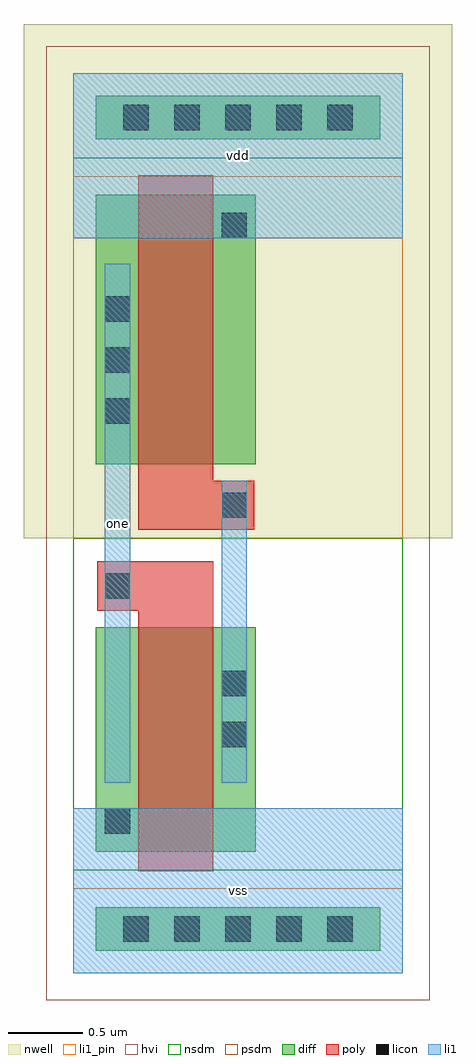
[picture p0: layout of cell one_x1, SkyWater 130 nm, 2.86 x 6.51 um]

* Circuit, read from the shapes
.subckt one_x1 one vdd vss
XM1 n1 one vss VSUBS sky130_fd_pr__nfet_g5v0d10v5 w=1.495 l=0.5
XM2 vdd n1 one n2 sky130_fd_pr__pfet_g5v0d10v5 w=1.795 l=0.5
.ends

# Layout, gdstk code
import gdstk
lib = gdstk.Library(unit=1e-6, precision=1e-09)
def R(c, l, rs):  # rectangles x0, y0, x1, y1
    for r in rs: c.add(gdstk.rectangle(r[:2], r[2:], *l))
def A(c, l, x, y, w, h, nx, ny, dx, dy):  # array of equal rectangles
    R(c, l, [(x+i*dx, y+j*dy, x+i*dx+w, y+j*dy+h) for i in range(nx) for j in range(ny)])
def P(c, l, *ps):  # polygons
    for p in ps: c.add(gdstk.Polygon(p, *l))
nwell = (64, 20)
diff = (65, 20)
poly = (66, 20)
licon = (66, 44)
li1_pin = (67, 16)
li1 = (67, 20)
hvi = (75, 20)
nsdm = (93, 44)
psdm = (94, 20)

one_x1 = lib.new_cell('one_x1')
R(one_x1, nwell, [(-0.33,2.9,2.53,6.33)])
R(one_x1, diff, [(0.15,0.15,2.05,0.44), (0.15,0.81,1.22,2.305), (0.15,3.395,1.22,5.19), (0.15,5.56,2.05,5.85)])
P(one_x1, poly, [(0.435,0.68),(0.435,2.415),(0.16,2.415),(0.16,2.745),(0.935,2.745),(0.935,0.68)],
  [(0.435,2.955),(0.435,5.32),(0.935,5.32),(0.935,3.285),(1.21,3.285),(1.21,2.955)])
A(one_x1, licon, 0.335, 0.21, 0.17, 0.17, 5, 2, 0.34, 5.41)
A(one_x1, licon, 0.21, 3.665, 0.17, 0.17, 1, 3, 0, 0.34)
R(one_x1, licon, [(0.21,0.93,0.38,1.1), (0.99,1.505,1.16,1.675), (0.99,1.845,1.16,2.015), (0.21,2.495,0.38,2.665), (0.99,3.035,1.16,3.205), (0.99,4.9,1.16,5.07)])
R(one_x1, li1_pin, [(0,0,2.2,1.1), (0.21,1.27,0.38,4.73), (0,4.9,2.2,6)])
R(one_x1, li1, [(0,0,2.2,1.1), (0.21,1.27,0.38,4.73), (0.99,1.27,1.16,3.285), (0,4.9,2.2,6)])
R(one_x1, hvi, [(-0.18,-0.18,2.38,6.18)])
R(one_x1, nsdm, [(0,0.685,2.2,2.9), (0,5.435,2.2,6)])
R(one_x1, psdm, [(0,0,2.2,0.565), (0,2.9,2.2,5.315)])
one_x1.add(gdstk.Label('vss', (1.1,0.55), layer=67, texttype=16))
one_x1.add(gdstk.Label('one', (0.295,3), layer=67, texttype=16))
one_x1.add(gdstk.Label('vdd', (1.1,5.45), layer=67, texttype=16))

lib.write_gds('one_x1.gds')
